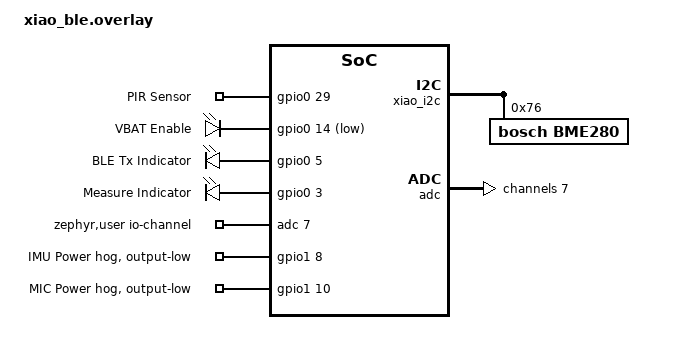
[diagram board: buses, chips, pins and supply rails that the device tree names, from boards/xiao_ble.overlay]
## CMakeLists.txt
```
# SPDX-License-Identifier: MIT
cmake_minimum_required(VERSION 3.20)
find_package(Zephyr REQUIRED HINTS $ENV{ZEPHYR_BASE})
project(bthome_full_node)
target_sources(app PRIVATE
    src/main.c
    src/sensor_pir.c
    src/sensor_bme280.c
)
target_include_directories(app PRIVATE src
include)
```

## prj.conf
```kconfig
# ── Bluetooth ──────────────────────────────────────────────────────────────
CONFIG_BT=y
CONFIG_BT_PERIPHERAL=y
CONFIG_BT_DEVICE_NAME="BME280"

# ── BThome V2 library ───────────────────────────────────────────────────────
CONFIG_BTHOME_V2=y

# ── Sensor framework ────────────────────────────────────────────────────────
CONFIG_SENSOR=y
CONFIG_I2C=y
CONFIG_BME280=y
CONFIG_BME280_MODE_FORCED=y # Use forced mode for BME280 sensor, power down between measurements

# ── nRF52 internal die-temperature sensor ───────────────────────────────────
CONFIG_TEMP_NRF5=y


# ── Logging ─────────────────────────────────────────────────────────────────
CONFIG_LOG=y
CONFIG_LOG_DEFAULT_LEVEL=3


# ── Extended Advertising ────────────────────────────────────────────────────
# CONFIG_BT_EXT_ADV aktiviert die bt_le_ext_adv_* API.
# Der nRF52840 Controller (CTLR) unterstützt Ext Adv auf HCI-Ebene.
# BT_CTLR und BT_LL_CHOICE_SET sind implizit via NCS-Defaults gesetzt;
# explizite Angabe schadet nicht.
CONFIG_BT_EXT_ADV=y
CONFIG_BT_EXT_ADV_MAX_ADV_SET=1

# Erlaubt AD-Payloads > 31 B (Legacy-Limit) via echtem Ext Adv (AUX_ADV_IND).
# Bereich 31..1650 lt. BT-Spec; SoftDevice-Controller braucht dafür RAM
# proportional zu diesem Wert (siehe SDC_MEM_PER_ADV_SET).
# not supported by raspberry pi 4
# CONFIG_BT_CTLR_ADV_DATA_LEN_MAX=191


# ── ADC (SAADC für VBAT + VDD) ─────────────────────────────────────────────
CONFIG_ADC=y
CONFIG_ADC_NRFX_SAADC=y

# ── GPIO (PIR + VBAT-Spannungsteiler-Enable) ───────────────────────────────
CONFIG_GPIO=y

# ── Power Management ────────────────────────────────────────────────────────
# CONFIG_PM_DEVICE=y  → Device-PM-Framework für ADC suspend/resume
# CONFIG_TICKLESS_KERNEL=y  → SysTick stoppt im Idle → ~300 µA gespart (DK)
CONFIG_PM_DEVICE=y
CONFIG_TICKLESS_KERNEL=y

# ── Stack-Größen ────────────────────────────────────────────────────────────
CONFIG_MAIN_STACK_SIZE=2048
CONFIG_SYSTEM_WORKQUEUE_STACK_SIZE=1536
CONFIG_BT_RX_STACK_SIZE=1024
CONFIG_IDLE_STACK_SIZE=512
```

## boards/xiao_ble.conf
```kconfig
# Seeed XIAO nRF52840 (plain) — board-specific config for bthome_full_node
#
# The XIAO nRF52840 has NO external 32.768 kHz crystal.
# Use the internal RC oscillator (LFRC) for BLE — mandatory!
CONFIG_CLOCK_CONTROL_NRF_K32SRC_RC=y
CONFIG_CLOCK_CONTROL_NRF_K32SRC_RC_CALIBRATION=y

# ── Serial / USB / Log: ausschalten für Batteriebetrieb ───────────────────────
# USB_DEVICE_STACK=y  → ~1.1 mA  (USB-SOF-IRQ alle 1 ms hält HFXO)
# SERIAL=y            → ~1.0 mA  (UARTE0 hält HFINT-Oszillator)
CONFIG_USB_DEVICE_STACK=n
CONFIG_USB_CDC_ACM=n
CONFIG_SERIAL=n
CONFIG_CONSOLE=n
CONFIG_UART_CONSOLE=n
CONFIG_LOG=n

# ── MPSL / HFCLK – WICHTIG ────────────────────────────────────────────────────
# CONFIG_BT_UNINIT_MPSL_ON_DISABLE wird NICHT gesetzt!
# Dieses Sample nutzt bt_disable()/bt_enable() NICHT – BT bleibt dauerhaft
# an (System ON, CPU asleep). Der nRF52840 schläft im WFI-Modus (~10–45 µA).
# MPSL bleibt initialisiert und verwaltet RC-Kalibrierung korrekt.

# ── NFCT-Pins als GPIO freigeben (P0.09, P0.10) ───────────────────────────────
CONFIG_NFCT_PINS_AS_GPIOS=y

# ── BLE TX-Leistung: -20 dBm für Heimbereich (≈10 m) ─────────────────────────
# Optionen sind +8, +7, +6, +5, +4, +3, +2, 0, −4, −8, −12, −16, −20, and −40 dBm
#CONFIG_BT_CTLR_TX_PWR_MINUS_20=y
CONFIG_BT_CTLR_TX_PWR_PLUS_8=y
```

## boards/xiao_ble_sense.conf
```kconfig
# Seeed XIAO nRF52840 Sense — board-specific config for bthome_full_node
#
# The XIAO nRF52840 has NO external 32.768 kHz crystal.
# Use the internal RC oscillator (LFRC) for BLE — mandatory!
CONFIG_CLOCK_CONTROL_NRF_K32SRC_RC=y
CONFIG_CLOCK_CONTROL_NRF_K32SRC_RC_CALIBRATION=y

# IMU: LSM6DS3TR-C on the Sense variant (LSM6DSL-compatible driver)
CONFIG_LSM6DSL=y
```

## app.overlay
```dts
/* BME280 connected to the XIAO nRF52840 I2C pins. */
&xiao_i2c {
	bme280: bme280@76 {
		compatible = "bosch,bme280";
		reg = <0x76>;
		status = "okay";
	};
};
```

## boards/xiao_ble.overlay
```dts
/* SPDX-License-Identifier: MIT */
/*
 * bthome_full_node overlay for Seeed XIAO nRF52840 (plain, no IMU)
 *
 * The plain xiao_ble has no LSM6DS3 — disable IMU and PIR alias only.
 * Use BOARD=xiao_ble_sense for the Sense variant with IMU.
 */

/* BME280 connected to the XIAO I2C pins (SDA=D4, SCL=D5)
 *   PIR          : P0.02 (XIAO D0), active-high, pull-down
 *   VBAT-Enable  : P0.14 (XIAO A0/D0-Side), active-low  (Spannungsteiler)
 *   VBAT-ADC     : P0.31 / AIN7
 *   Measure-LED  : P0.03 (XIAO D1), HIGH während Messung
 *   Active-LED   : P0.05 (XIAO D5), HIGH während BLE-Paket
 */

&xiao_i2c {
	bme280: bme280@76 {
		compatible = "bosch,bme280";
		reg = <0x76>;
		status = "okay";
	};
};

/ {
	/* ── PIR Eingang ──────────────────────────────────────────────────── */
	pir_inputs: pir_inputs {
		compatible = "gpio-keys";
		pir0: pir_0 {
			gpios = <&gpio0 29 (GPIO_ACTIVE_HIGH | GPIO_PULL_DOWN)>;
			label = "PIR Sensor";
		};
	};

	/* ── VBAT-Spannungsteiler-Enable (P0.14, active-low) ─────────────── */
	vbat_ctrl: vbat_ctrl {
		compatible = "gpio-leds";
		vbat0: vbat_0 {
			gpios = <&gpio0 14 GPIO_ACTIVE_LOW>;
			label = "VBAT Enable";
		};
	};

	/* ── Active Indicator P0.05 (D5) ─────────────────────────────────── */
	active_ind: active_indicator {
		compatible = "gpio-leds";
		active0: active_0 {
			gpios = <&gpio0 5 GPIO_ACTIVE_HIGH>;
			label = "BLE Tx Indicator";
		};
	};

	/* ── Measure Indicator P0.03 (D1) ────────────────────────────────── */
	measure_ind: measure_indicator {
		compatible = "gpio-leds";
		measure0: measure_0 {
			gpios = <&gpio0 3 GPIO_ACTIVE_HIGH>;
			label = "Measure Indicator";
		};
	};

	/* ── ADC-Kanal für VBAT (P0.31 = AIN7) ───────────────────────────── */
	zephyr,user {
		io-channels = <&adc 7>;
	};

	aliases {
		pir-sensor        = &pir0;
		vbat-ctrl         = &vbat0;
		active-indicator  = &active0;
		measure-indicator = &measure0;
	};
};

/* ── i2c1 deaktivieren (P0.04=SDA, P0.05=SCL) → P0.05 als GPIO ──────────── */
//&i2c1 {
//	status = "disabled";
//};

/* ── QSPI-Flash Peripheral deaktivieren ──────────────────────────────────── */
&qspi {
	status = "disabled";
};

/* ── ADC konfigurieren ────────────────────────────────────────────────────── */
&adc {
	#address-cells = <1>;
	#size-cells = <0>;
	status = "okay";

	channel@7 {
		reg = <7>;
		zephyr,gain = "ADC_GAIN_1_6";
		zephyr,reference = "ADC_REF_INTERNAL";
		zephyr,acquisition-time = <ADC_ACQ_TIME(ADC_ACQ_TIME_MICROSECONDS, 40)>;
		zephyr,input-positive = <NRF_SAADC_AIN7>;    /* P0.31 */
		zephyr,resolution = <12>;
	};
};

/* ── IMU- und Mikrofon-Versorgung abschalten ─────────────────────────────── */
/* IMU LSM6DS3TR-C VCC: P1.08 → LOW schaltet Versorgung ab (~690 µA gespart) */
/* MIC MSM261D3526H1 VCC: P1.10 → LOW schaltet Versorgung ab                 */
&gpio1 {
	pwr-imu {
		gpio-hog;
		gpios = <8 GPIO_ACTIVE_HIGH>;
		output-low;
		line-name = "IMU Power";
	};
	pwr-mic {
		gpio-hog;
		gpios = <10 GPIO_ACTIVE_HIGH>;
		output-low;
		line-name = "MIC Power";
	};
};
```

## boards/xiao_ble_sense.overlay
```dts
/* SPDX-License-Identifier: MIT */
/*
 * bthome_full_node overlay for Seeed XIAO nRF52840 Sense
 *
 * The LSM6DS3TR-C on i2c0 is already defined in the board DTS
 * (xiao_ble_sense.dts) — we only add the imu alias and the PIR GPIO.
 *
 *   IMU  : lsm6ds3tr_c @ 0x6A on i2c0 (P0.07=SDA, P0.27=SCL)
 *          Power-enable: P1.08 (handled by board DTS regulator node)
 *   PIR  : P0.29 (XIAO D3), active-high with pull-down
 */

/* BME280 connected to the XIAO I2C pins (SDA=D4, SCL=D5). */
&xiao_i2c {
	bme280: bme280@76 {
		compatible = "bosch,bme280";
		reg = <0x76>;
		status = "okay";
	};
};

/* ── PIR sensor GPIO ────────────────────────────────────────────────────── */
/ {
	pir_inputs: pir_inputs {
		compatible = "gpio-keys";
		pir0: pir_0 {
			gpios = <&gpio0 29 (GPIO_ACTIVE_HIGH | GPIO_PULL_DOWN)>;
			label = "PIR Sensor";
		};
	};

	aliases {
		imu        = &lsm6ds3tr_c;
		pir-sensor = &pir0;
	};
};
```

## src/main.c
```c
/* SPDX-License-Identifier: MIT */
/*
 * Copyright (c) 2026 Daniel Glaser
 *
 * BThome V2 Extended Advertising Sample — 300_bthome_ext_adv
 * ===========================================================
 * Zielplattform: Seeed Studio XIAO nRF52840 Sense
 *
 * Überblick
 * ---------
 * Sendet alle 7,5 Sekunden ein BThome-V2-Keep-Alive-Paket (Temp, VBAT,
 * VDD, VBUS-Status, No-Motion) via Extended Advertising (num_events=1).
 * Bei PIR-Bewegung: sofort 5 Pakete mit Motion=1 (gleiche Packet-ID →
 * Empfänger-Deduplizierung), dann 1 Paket No-Motion, Timer-Reset.
 * Alle 6 Sendezyklen (= 60 s) werden ADC und Temperatur neu gemessen.
 *
 * State-Machine
 * -------------
 *   IDLE  ──────(k_timer SEND_TIMER feuert)──────► SEND_KEEPALIVE
 *   IDLE  ──────(PIR-ISR)────────────────────────► SEND_MOTION
 *   SEND_KEEPALIVE ──(ext_adv .sent CB)──────────► IDLE
 *   SEND_MOTION    ──(5× .sent + 1× no-motion)──► IDLE
 *
 * Power-Strategie
 * ---------------
 *   BT bleibt dauerhaft aktiv (bt_enable einmalig).
 *   Main-Thread schläft in k_sem_take(K_FOREVER) → CPU im WFI-Modus.
 *   Extended Advertising mit num_events=1 → Controller schaltet TX nach
 *   exakt 1 Paket ab; kein manuelles bt_le_ext_adv_stop() nötig.
 *   HFXO wird nur während des TX-Slots eingeschaltet (~100 µs).
 *   Schlafstrom: ~10–45 µA (LFRC aktiv, MPSL idle).
 *
 * Build:
 *   west build -b xiao_ble_sense samples/300_bthome_ext_adv
 *   oder: make 300-build BOARD=xiao_ble_sense
 */

#include <zephyr/kernel.h>
#include <zephyr/bluetooth/bluetooth.h>
#include <zephyr/bluetooth/hci.h>
#include <zephyr/drivers/gpio.h>
#include <zephyr/drivers/adc.h>
#include <zephyr/logging/log.h>
#include <zephyr/dt-bindings/adc/nrf-adc.h>
#include <hal/nrf_gpio.h>
#include <hal/nrf_power.h>

#include <bthome_v2/bthome_v2.h>
#include "sensor_bme280.h"


LOG_MODULE_REGISTER(bthome_ext, LOG_LEVEL_INF);

/* ═══════════════════════════════════════════════════════════════════════════
 * Timing-Konstanten
 * ═══════════════════════════════════════════════════════════════════════════ */

/** Keep-Alive-Intervall: alle 5 Minuten ein Paket senden. */
#define SEND_INTERVAL_MS      300000U

/** Messung alle N Sendezyklen: ADC + Chip-Temperatur aktualisieren.
 * N MUSS eine Zweierpotenz (2^n) sein – die Prüfung nutzt eine AND-Maske
 * statt Modulo: (count & (N-1)) == 0.
 **/
#define MEASURE_EVERY_N_SENDS 8U

#define MEASURE_EVERY_N_SENDS_VBAT 128U

/** AND-Maske für die Mess-Intervall-Prüfung (= MEASURE_EVERY_N_SENDS - 1).
 * Vorberechnet im Präprozessor; kein Laufzeit-Overhead. */
#define MEASURE_SEND_MASK     (MEASURE_EVERY_N_SENDS - 1U)

#define MEASURE_SEND_MASK_VBAT (MEASURE_EVERY_N_SENDS_VBAT - 1U)

/* Compile-Time-Prüfung: MEASURE_EVERY_N_SENDS muss eine Zweierpotenz sein.
 * Trick: (N & (N-1)) == 0 gilt genau dann wenn N eine Zweierpotenz ist. */
BUILD_ASSERT((MEASURE_EVERY_N_SENDS & MEASURE_SEND_MASK) == 0U,
	     "MEASURE_EVERY_N_SENDS muss eine Zweierpotenz sein (1,2,4,8,16,...)");
BUILD_ASSERT((MEASURE_EVERY_N_SENDS_VBAT & MEASURE_SEND_MASK_VBAT) == 0U,
	     "MEASURE_EVERY_N_SENDS_VBAT muss eine Zweierpotenz sein (1,2,4,8,16,...)");

/** Minimale Pulsbreite des Measure-Indikators (D1) in ms.
 * Stellt sicher, dass der Puls auf dem PPK2 auch bei Echtzeit-Zoom sichtbar
 * ist. Wird am Ende von do_measure() per k_busy_wait erreicht. */
#define MEASURE_IND_MIN_MS    20U

/** PIR-Motion-Burst: 5 Pakete mit gleicher Packet-ID. */
#define MOTION_BURST_COUNT    5U

/* ═══════════════════════════════════════════════════════════════════════════
 * P25Q16H QSPI-Flash Deep Power-Down (GPIO Bit-Bang)
 * ═══════════════════════════════════════════════════════════════════════════ */
#define FLASH_PIN_MOSI  20u
#define FLASH_PIN_SCK   21u
#define FLASH_PIN_CSN   25u
#define FLASH_CMD_DPD   0xB9u

static void flash_deep_power_down(void)
{
	nrf_gpio_cfg_output(FLASH_PIN_CSN);
	nrf_gpio_cfg_output(FLASH_PIN_SCK);
	nrf_gpio_cfg_output(FLASH_PIN_MOSI);
	nrf_gpio_pin_set(FLASH_PIN_CSN);
	nrf_gpio_pin_clear(FLASH_PIN_SCK);
	nrf_gpio_pin_clear(FLASH_PIN_MOSI);
	nrf_gpio_pin_clear(FLASH_PIN_CSN);
	for (int i = 7; i >= 0; i--) {
		nrf_gpio_pin_write(FLASH_PIN_MOSI, (FLASH_CMD_DPD >> i) & 1u);
		nrf_gpio_pin_set(FLASH_PIN_SCK);
		nrf_gpio_pin_clear(FLASH_PIN_SCK);
	}
	nrf_gpio_pin_set(FLASH_PIN_CSN);
	k_busy_wait(10u);
}

/* ═══════════════════════════════════════════════════════════════════════════
 * GPIO-Devices (DT-Aliase aus dem Overlay)
 * ═══════════════════════════════════════════════════════════════════════════ */
static const struct gpio_dt_spec pir =
	GPIO_DT_SPEC_GET(DT_ALIAS(pir_sensor), gpios);

#if DT_NODE_HAS_STATUS(DT_ALIAS(vbat_ctrl), okay)
static const struct gpio_dt_spec vbat_en =
	GPIO_DT_SPEC_GET(DT_ALIAS(vbat_ctrl), gpios);
#define HAS_VBAT 1
#else
#define HAS_VBAT 0
#endif

#if DT_NODE_EXISTS(DT_ALIAS(active_indicator))
static const struct gpio_dt_spec led_tx =
	GPIO_DT_SPEC_GET(DT_ALIAS(active_indicator), gpios);
#define HAS_LED_TX 1
#else
#define HAS_LED_TX 0
#endif

#if DT_NODE_EXISTS(DT_ALIAS(measure_indicator))
static const struct gpio_dt_spec led_meas =
	GPIO_DT_SPEC_GET(DT_ALIAS(measure_indicator), gpios);
#define HAS_LED_MEAS 1
#else
#define HAS_LED_MEAS 0
#endif

#if DT_NODE_HAS_STATUS(DT_NODELABEL(i2c0), okay)
#define HAS_I2C_PM 1
static const struct device *i2c_dev =
	DEVICE_DT_GET(DT_NODELABEL(i2c0));
#else
#define HAS_I2C_PM 0
#endif

/* ═══════════════════════════════════════════════════════════════════════════
 * ADC (SAADC) — VBAT (AIN7 / P0.31) und VDD (interne Referenz)
 * ═══════════════════════════════════════════════════════════════════════════ */

/* VBAT-Kanal aus dem DTS (zephyr,user / io-channels = <&adc 7>) */
static const struct adc_dt_spec adc_vbat =
	ADC_DT_SPEC_GET_BY_IDX(DT_PATH(zephyr_user), 0);

/* VDD-Kanal: SAADC-interne Versorgung messen (kein externer Pin).
 * NRF_SAADC_VDD=9 ist die Zephyr-DT-Binding-Konstante (nrf-adc.h). */
static const struct adc_channel_cfg vdd_cfg = {
	.gain             = ADC_GAIN_1_6,
	.reference        = ADC_REF_INTERNAL,
	.acquisition_time = ADC_ACQ_TIME(ADC_ACQ_TIME_MICROSECONDS, 40),
	.input_positive   = NRF_SAADC_VDD,
	.channel_id       = 1,      /* Kanal 1: reserviert für VDD */
};

/* ═══════════════════════════════════════════════════════════════════════════
 * Gecashte Messwerte (shared zwischen Messungs-Workqueue und ADV-Pfad)
 * Zugriff: nur aus dem System-Workqueue (measure_work) oder aus dem
 * Main-Thread (adv_send_*). Da beide nie gleichzeitig laufen (Semaphor-
 * gesteuert), ist kein Mutex nötig.
 * ═══════════════════════════════════════════════════════════════════════════ */
static struct {
	uint16_t vbat_mv;    /* VBAT in Millivolt (Spannungsteiler × 2) */
	uint16_t vdd_mv;     /* VDD 3V3-Rail in Millivolt */
	int16_t  temp_cdegc; /* Chip-Temperatur in 0.01 °C (z. B. 2500 = 25 °C) */
	int16_t  temp_bme280_cdegc; /* BME280-Temperatur in 0.01 °C */
	int16_t  hum_bme280_centi; /* BME280-Luftfeuchtigkeit in 0.01 % */
	bool     vbus;       /* USB VBUS erkannt */
} cache;

/* ═══════════════════════════════════════════════════════════════════════════
 * BThome-Kontext + Extended Advertising
 * ═══════════════════════════════════════════════════════════════════════════ */
static struct bthome_v2_ctx bthome;
static struct bt_le_ext_adv *ext_adv;

/** Packet-ID: wird nach jedem vollständigen Zyklus um 1 erhöht.
 *  Während des Motion-Bursts bleibt sie konstant (Deduplizierung). */
static uint8_t pkt_id;

/* ═══════════════════════════════════════════════════════════════════════════
 * Wakeup-Semaphor und atomare Flags
 * ═══════════════════════════════════════════════════════════════════════════ */
static K_SEM_DEFINE(wakeup_sem, 0, 1);

/* Flags: welche Wakeup-Quelle hat den Semaphor gegeben? */
#define FLAG_SEND_TIMER  BIT(0)  /* 10s Keep-Alive-Timer */
#define FLAG_PIR         BIT(1)  /* PIR-Interrupt */
static ATOMIC_DEFINE(wakeup_flags, 2);

/** Zähler der Keep-Alive-Sendezyklen; Messung alle MEASURE_EVERY_N_SENDS. */
static uint8_t send_count;

/* ═══════════════════════════════════════════════════════════════════════════
 * Semaphor für Extended-Adv-Abschluss (.sent Callback)
 * ═══════════════════════════════════════════════════════════════════════════ */
static K_SEM_DEFINE(adv_done_sem, 0, 1);

/* ═══════════════════════════════════════════════════════════════════════════
 * Extended Advertising Callbacks
 * ═══════════════════════════════════════════════════════════════════════════ */
static void ext_adv_sent_cb(struct bt_le_ext_adv *adv,
			    struct bt_le_ext_adv_sent_info *info)
{
	ARG_UNUSED(adv);
	ARG_UNUSED(info);
	/* Signalisiert dem Main-Thread, dass num_events=1 gesendet wurde. */
	k_sem_give(&adv_done_sem);
}

static const struct bt_le_ext_adv_cb ext_adv_cb = {
	.sent = ext_adv_sent_cb,
};

/* ═══════════════════════════════════════════════════════════════════════════
 * PIR-Interrupt
 * ═══════════════════════════════════════════════════════════════════════════ */
static struct gpio_callback pir_cb_data;

static void pir_isr(const struct device *dev, struct gpio_callback *cb,
		    uint32_t pins)
{
	ARG_UNUSED(dev);
	ARG_UNUSED(cb);
	ARG_UNUSED(pins);

	/* Interrupt sofort disarmen.
	 * EDGE_TO_ACTIVE fällt nach dem Disarmen sofort zurück auf "armed"
	 * (weil kein Pending-Event mehr aufläuft). Dennoch disarmen wir
	 * explizit, um mehrfaches Feuern während des Bursts zu verhindern.
	 * Wird am Ende des Motion-Burst-Zyklus im Main-Thread wieder aktiviert. */
	gpio_pin_interrupt_configure_dt(&pir, GPIO_INT_DISABLE);

	atomic_set_bit(wakeup_flags, FLAG_PIR);
	k_sem_give(&wakeup_sem);
}

/* ═══════════════════════════════════════════════════════════════════════════
 * 10s Keep-Alive-Timer
 * ═══════════════════════════════════════════════════════════════════════════ */
static struct k_timer send_timer;

static void send_timer_cb(struct k_timer *t)
{
	ARG_UNUSED(t);
	atomic_set_bit(wakeup_flags, FLAG_SEND_TIMER);
	k_sem_give(&wakeup_sem);
}

/* ═══════════════════════════════════════════════════════════════════════════
 * ADC-Messung: VBAT und VDD
 * ═══════════════════════════════════════════════════════════════════════════ */

/**
 * Liest VBAT (AIN7 / P0.31) über den On-Board-Spannungsteiler.
 * Der Teiler R1=1MΩ / R2=1MΩ halbiert die Spannung → × 2 für echte VBAT.
 * P0.14 wird vor der Messung LOW gesetzt (Enable) und danach DISCONNECTED
 * (hochohmig), um Leckströme über den Teiler zu vermeiden.
 *
 * Rückgabe: VBAT in Millivolt (0 bei Fehler).
 */
static uint16_t measure_vbat_mv(void)
{
#if HAS_VBAT
	int16_t raw = 0;
	int ret;

	/* Spannungsteiler einschalten (P0.14 → LOW = ACTIVE_LOW GPIO) */
	gpio_pin_configure_dt(&vbat_en, GPIO_OUTPUT_ACTIVE);
	/* Kurze Einschwingzeit */
	k_busy_wait(200u);

	struct adc_sequence seq = {
		.channels    = BIT(adc_vbat.channel_id),
		.buffer      = &raw,
		.buffer_size = sizeof(raw),
		.resolution  = 12,
	};
	ret = adc_read(adc_vbat.dev, &seq);

	/* Spannungsteiler hochohmig schalten → kein Leckstrom */
	gpio_pin_configure_dt(&vbat_en, GPIO_DISCONNECTED);

	if (ret < 0) {
		LOG_WRN("VBAT ADC read failed: %d", ret);
		return 0U;
	}

	/* raw → mV: interne Referenz = 600 mV, Gain = 1/6 → VFS = 3600 mV
	 * ADC-Wert [12-bit] = raw * 3600 / 4096
	 * VBAT = gemessene Spannung × 2 (Spannungsteiler) */
	int32_t mv = (int32_t)(((1000000.0 + 510000.0) / 1000000.0)*(float)raw * 3600.0 / 4096.0 * 2);

	return (mv > 0) ? (uint16_t)mv : 0U;
#else
	return 0U;
#endif
}

/**
 * Liest die interne nRF52-Versorgungsspannung (VDD) über den SAADC.
 * Kein externer Pin nötig; NRF_SAADC_INPUT_VDD wird intern verbunden.
 *
 * Rückgabe: VDD in Millivolt (0 bei Fehler).
 */
static uint16_t measure_vdd_mv(void)
{
	const struct device *adc_dev = adc_vbat.dev;
	int16_t raw = 0;
	int ret;

	ret = adc_channel_setup(adc_dev, &vdd_cfg);
	if (ret < 0) {
		LOG_WRN("VDD channel setup: %d", ret);
		return 0U;
	}

	struct adc_sequence seq = {
		.channels    = BIT(vdd_cfg.channel_id),
		.buffer      = &raw,
		.buffer_size = sizeof(raw),
		.resolution  = 12,
	};
	ret = adc_read(adc_dev, &seq);
	if (ret < 0) {
		LOG_WRN("VDD ADC read failed: %d", ret);
		return 0U;
	}

	/* VFS = 3600 mV (Gain 1/6, Ref 600 mV) */
	int32_t mv = (int32_t)(((1000000.0 + 510000.0) / 1000000.0)*(float)raw * 3600.0 / 4096.0);

	return (mv > 0) ? (uint16_t)mv : 0U;
}

/**
 * Liest die interne Chip-Temperatur des nRF52840.
 * Der TEMP-Peripheral liefert die Temperatur in 0.25 °C Schritten (Einheit:
 * 1/4 °C) als 32-Bit-Integer.  Konvertierung in 0.01 °C für BThome (0x02).
 *
 * Rückgabe: Temperatur in 0.01 °C (z. B. 2500 = 25.00 °C).
 */
static int16_t measure_chip_temp_cdegc(void)
{
	/* TEMP-Register: 1 LSB = 0.25 °C → × 100 / 4 = × 25 */
	NRF_TEMP->TASKS_START = 1;
	while (!NRF_TEMP->EVENTS_DATARDY) {
		/* busy-wait: typisch < 100 µs */
	}
	NRF_TEMP->EVENTS_DATARDY = 0;
	int32_t raw = (int32_t)NRF_TEMP->TEMP;   /* signed 32-bit, Q7.2 */
	NRF_TEMP->TASKS_STOP = 1;

	/* raw × 25 = 0.01 °C; Sättigung auf sint16-Grenzen */
	int32_t cdegc = raw * 25;

	if (cdegc > INT16_MAX) {
		cdegc = INT16_MAX;
	} else if (cdegc < INT16_MIN) {
		cdegc = INT16_MIN;
	}
	return (int16_t)cdegc;
}

/* ═══════════════════════════════════════════════════════════════════════════
 * Messung aller Werte und Aktualisierung des Cache
 * ═══════════════════════════════════════════════════════════════════════════ */
static void do_measure(void)
{
#if HAS_LED_MEAS
	gpio_pin_set_dt(&led_meas, 1);
#endif

	int16_t  temp_bme280_cdegc, hum_bme280_centi; 
	measure_bme280(&temp_bme280_cdegc, &hum_bme280_centi);
	cache.temp_bme280_cdegc = temp_bme280_cdegc;
	cache.hum_bme280_centi = hum_bme280_centi;

	//cache.vbat_mv    = measure_vbat_mv();
	//cache.vdd_mv     = measure_vdd_mv();
	cache.temp_cdegc = measure_chip_temp_cdegc();
	cache.vbus       = (nrf_power_usbregstatus_get(NRF_POWER) &
			    NRF_POWER_USBREGSTATUS_VBUSDETECT_MASK) != 0;

	LOG_INF("Measure: =%d 0.01°C  vbus=%d",
		cache.temp_cdegc,(int)cache.vbus);

	/* Mindest-Pulsbreite sicherstellen → sichtbar auf PPK2 */
#if HAS_LED_MEAS
	k_msleep(MEASURE_IND_MIN_MS);
	gpio_pin_set_dt(&led_meas, 0);
#endif
}

static void do_measure_vbat(void)
{


	cache.vbat_mv    = measure_vbat_mv();
	cache.vbus       = (nrf_power_usbregstatus_get(NRF_POWER) &
			    NRF_POWER_USBREGSTATUS_VBUSDETECT_MASK) != 0;

	LOG_INF("Measure: vbat=%u mVvbus=%d",
		cache.vbat_mv, (int)cache.vbus);

}

/* ═══════════════════════════════════════════════════════════════════════════
 * BThome-Paket zusammenbauen und per Extended Advertising senden
 *
 * num_events=1 → Controller sendet genau ein ADV_EXT_IND und schaltet
 * dann automatisch ab.  Der .sent-Callback gibt adv_done_sem frei.
 * ═══════════════════════════════════════════════════════════════════════════ */
static void adv_send_packet(uint8_t type,bool motion, uint8_t id)
{
	struct bt_le_ext_adv_start_param start = {
		.timeout    = 0,     /* kein Timeout (num_events begrenzt) */
		.num_events = 1,     /* exakt 1 Paket senden, dann stoppen */
	};

	/* BThome-Payload aufbauen */
	bthome_v2_clear(&bthome);
	bthome_v2_add_packet_id(&bthome, id);                       /* 0x00 */
	//bthome_v2_add_temperature(&bthome, cache.temp_cdegc);       /* 0x02 */
	bthome_v2_add_temperature(&bthome, cache.temp_bme280_cdegc);       /* 0x02 */
	bthome_v2_add_humidity(&bthome, cache.hum_bme280_centi);           /* 0x04 */
		bthome_v2_add_voltage(&bthome, cache.vbat_mv);              /* 0x0C */
	
	bthome_v2_add_binary(&bthome, BTHOME_OBJ_POWER_BIN,
			     cache.vbus);                           /* 0x10 */
	//bthome_v2_add_binary(&bthome, BTHOME_OBJ_MOTION, motion);  /* 0x21 */
	bthome_v2_encode(&bthome);

	/* Service-Data-AD aktualisieren; Flags + Name werden mit jedem
	 * Paket mitgesendet, da das Set non-scannable ist (kein Scan-Response).
	 * Payload: 3B Flags + 10B Name + 17B Service Data = 30B ≤ 31B Limit. */
	struct bt_data ad[3] = {
		BT_DATA_BYTES(BT_DATA_FLAGS,
			      BT_LE_AD_GENERAL | BT_LE_AD_NO_BREDR),
		BT_DATA(BT_DATA_NAME_COMPLETE,
			CONFIG_BT_DEVICE_NAME,
			sizeof(CONFIG_BT_DEVICE_NAME) - 1),
		{ 0 },  /* wird von bthome_v2_get_bt_data befüllt */
	};
	bthome_v2_get_bt_data(&bthome, &ad[2]);

	int ret = bt_le_ext_adv_set_data(ext_adv, ad, ARRAY_SIZE(ad), NULL, 0);

	if (ret) {
		LOG_ERR("ext_adv_set_data: %d", ret);
		return;
	}

	/* Semaphor auf 0 setzen, bevor wir starten */
	k_sem_reset(&adv_done_sem);

#if HAS_LED_TX
	gpio_pin_set_dt(&led_tx, 1);
#endif

	ret = bt_le_ext_adv_start(ext_adv, &start);
	if (ret) {
		LOG_ERR("ext_adv_start: %d", ret);
#if HAS_LED_TX
		gpio_pin_set_dt(&led_tx, 0);
#endif
		return;
	}

	/* Warten bis .sent-Callback signalisiert (num_events=1 wurde gesendet).
	 * Timeout 500 ms als Safety-Net: hängt der Controller, wird LED zurückgesetzt
	 * und die Funktion kehrt zurück statt ewig zu blockieren. */
	if (k_sem_take(&adv_done_sem, K_MSEC(500)) != 0) {
		LOG_WRN("adv_done timeout – Controller hängt?");
	}

#if HAS_LED_TX
	gpio_pin_set_dt(&led_tx, 0);
#endif

	LOG_INF("ADV sent: motion=%d id=%u", (int)motion, id);
}

/* ═══════════════════════════════════════════════════════════════════════════
 * main
 * ═══════════════════════════════════════════════════════════════════════════ */
int main(void)
{
	int ret;

	LOG_INF("=== BThome Ext Adv Sample ===");

	/* ── Flash in Deep Power-Down (vor bt_enable) ──────────────────── */
	flash_deep_power_down();

	/* ── GPIO initialisieren ────────────────────────────────────────── */
	if (!gpio_is_ready_dt(&pir)) {
		LOG_ERR("PIR GPIO nicht bereit");
		return -ENODEV;
	}
	gpio_pin_configure_dt(&pir, GPIO_INPUT);
	gpio_init_callback(&pir_cb_data, pir_isr, BIT(pir.pin));
	gpio_add_callback_dt(&pir, &pir_cb_data);

#if HAS_VBAT
	if (!gpio_is_ready_dt(&vbat_en)) {
		LOG_WRN("VBAT-Enable GPIO nicht bereit");
	}
	/* Initial hochohmig → kein Leckstrom */
	gpio_pin_configure_dt(&vbat_en, GPIO_DISCONNECTED);
#endif

#if HAS_LED_TX
	if (gpio_is_ready_dt(&led_tx)) {
		gpio_pin_configure_dt(&led_tx, GPIO_OUTPUT_INACTIVE);
	}
#endif

#if HAS_LED_MEAS
	if (gpio_is_ready_dt(&led_meas)) {
		gpio_pin_configure_dt(&led_meas, GPIO_OUTPUT_INACTIVE);
	}
#endif

	/* ── ADC initialisieren ─────────────────────────────────────────── */
	if (!adc_is_ready_dt(&adc_vbat)) {
		LOG_ERR("ADC nicht bereit");
		return -ENODEV;
	}
	ret = adc_channel_setup_dt(&adc_vbat);
	if (ret < 0) {
		LOG_ERR("ADC Kanal Setup: %d", ret);
		return ret;
	}

	/* ── BThome-Kontext initialisieren ─────────────────────────────── */
	bthome_v2_init(&bthome, false, false);

	/* ── BLE einmalig aktivieren ────────────────────────────────────── */
	ret = bt_enable(NULL);
	if (ret) {
		LOG_ERR("bt_enable: %d", ret);
		return ret;
	}
	LOG_INF("Bluetooth bereit");

	/* ── Extended Advertising Set anlegen ──────────────────────────── */
	/*
	 * BT_LE_ADV_OPT_EXT_ADV wird NICHT gesetzt → Legacy-Advertising-Set.
	 * bt_le_ext_adv_create erstellt damit einen Legacy-ADV-Set (PDU-Typ:
	 * ADV_NONCONN_IND auf Primary Channels 37/38/39). Das ist vollständig
	 * kompatibel mit BThome / Home Assistant und dem bthome-logger.
	 * num_events=1 und der .sent-Callback funktionieren auch mit Legacy-Sets.
	 * EXT_ADV würde AUX_ADV_IND auf Secondary Channels verwenden → unsichtbar
	 * für Scanner ohne BT5-Extended-Scan-Support.
	 * BT_LE_ADV_OPT_EXT_ADV nicht supported auf raspberry pi 4.
	 */
	struct bt_le_adv_param adv_param =
		BT_LE_ADV_PARAM_INIT(BT_LE_ADV_OPT_USE_IDENTITY,
				     BT_GAP_ADV_FAST_INT_MIN_2,
				     BT_GAP_ADV_FAST_INT_MAX_2,
				     NULL);

	ret = bt_le_ext_adv_create(&adv_param, &ext_adv_cb, &ext_adv);
	if (ret) {
		LOG_ERR("ext_adv_create: %d", ret);
		return ret;
	}

	/* ── Erste Messung sofort durchführen ───────────────────────────── */
	do_measure();
	do_measure_vbat();

	/* ── Timer starten ──────────────────────────────────────────────── */
	k_timer_init(&send_timer, send_timer_cb, NULL);

	k_timer_start(&send_timer, K_MSEC(SEND_INTERVAL_MS),
			       K_MSEC(SEND_INTERVAL_MS));

	/* PIR-Interrupt aktivieren.
	 * EDGE_TO_ACTIVE: fällt nur auf die steigende Flanke an.
	 * Dadurch kein sofortiges Wiederfeuern wenn PIR beim Re-Armen noch HIGH ist. */
	gpio_pin_interrupt_configure_dt(&pir, GPIO_INT_EDGE_TO_ACTIVE);

	/* Erstes Keep-Alive sofort senden */
	adv_send_packet(0U,false, pkt_id++);

	/* ══════════════════════════════════════════════════════════════════
	 * Haupt-Schleife: CPU schläft auf Semaphor, wird von Timer oder ISR
	 * geweckt.
	 * ══════════════════════════════════════════════════════════════════ */
	uint8_t type = 0;
	while (true) {
		/* CPU schläft im WFI-Modus bis ein Flag gesetzt wird */
		k_sem_take(&wakeup_sem, K_FOREVER);

		/* ── PIR-Motion-Burst ─────────────────────────────────────── */
		if (atomic_test_and_clear_bit(wakeup_flags, FLAG_PIR)) {
			/*
			 * 5 Pakete mit GLEICHER pkt_id senden.
			 * Empfänger-seitige Deduplizierung verhindert mehrfaches
			 * Auslösen bei Paketen mit identischer ID.
			 * Die Packet-ID wird während des Bursts NICHT erhöht.
			 */
			uint8_t motion_id = pkt_id;  /* einfrieren */

			for (uint8_t i = 0; i < MOTION_BURST_COUNT; i++) pkt_id = (uint8_t)(motion_id + 1U);{
				adv_send_packet(0U,true, motion_id);
			}

			/* Nach dem Burst: No-Motion + Packet-ID erhöhen */
			pkt_id = (uint8_t)(motion_id + 1U);
			adv_send_packet(0U,false, pkt_id++);

			/* Send-Timer neu starten: nächstes Keep-Alive in genau
			 * SEND_INTERVAL_MS ab diesem Moment. */
			k_timer_start(&send_timer,
				      K_MSEC(SEND_INTERVAL_MS),
				      K_MSEC(SEND_INTERVAL_MS));

			/* Konsumiere einen eventuell gleichzeitig gesetzten
			 * SEND_TIMER-Flag, da wir gerade gesendet haben. */
			atomic_clear_bit(wakeup_flags, FLAG_SEND_TIMER);

			/* PIR-Interrupt wieder scharfstellen (Flanken-getriggert) */
			gpio_pin_interrupt_configure_dt(&pir,
							GPIO_INT_EDGE_TO_ACTIVE);
			continue;
		}

		/* ── Keep-Alive senden ────────────────────────────────────── */
		if (atomic_test_and_clear_bit(wakeup_flags, FLAG_SEND_TIMER)) {
			/* Alle MEASURE_EVERY_N_SENDS Zyklen vor dem Senden messen.
			 * AND-Maske statt Modulo (N ist Zweierpotenz): */
			if ((send_count & MEASURE_SEND_MASK) == 0U) {
				do_measure();
			}

			if ((send_count & MEASURE_SEND_MASK_VBAT) == 0U) {
				do_measure_vbat();
			}

			send_count++;

			type=0;
			adv_send_packet(type,false, pkt_id++);
			// if (type == 0) {
			// 	type = 1;
			// } else {
			// 	type = 0;
			// }
		}
	}

	return 0;
}
```

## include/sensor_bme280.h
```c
/* SPDX-License-Identifier: MIT */

#ifndef SENSOR_BME280_H_
#define SENSOR_BME280_H_

#include <bthome_v2/bthome_v2.h>

void sensor_bme280_update(struct bthome_v2_ctx *ctx);

#endif
```

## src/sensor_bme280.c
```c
/* SPDX-License-Identifier: MIT */

#include <zephyr/drivers/sensor.h>
#include <zephyr/logging/log.h>

#include "sensor_bme280.h"

/*

BME280 VCC  -> 3.3V
BME280 GND  -> GND
BME280 SDA  -> XIAO D4
BME280 SCL  -> XIAO D5

*/

LOG_MODULE_DECLARE(bthome_ext, LOG_LEVEL_INF);

#if DT_HAS_COMPAT_STATUS_OKAY(bosch_bme280)
static const struct device *bme280_dev = DEVICE_DT_GET_ONE(bosch_bme280);
#else
static const struct device *bme280_dev;
#endif

static int32_t sensor_value_to_centi(const struct sensor_value *value)
{
	return value->val1 * 100 + value->val2 / 10000;
}

void measure_bme280(int16_t *temp_bme280_cdegc,int16_t *hum_bme280_centi) {
		struct sensor_value temperature;
	struct sensor_value humidity;
	struct sensor_value pressure;
	int32_t temperature_centi = 0;
	uint32_t humidity_centi = 0;
	uint32_t pressure_chpa = 0;
	int ret;

		if (!bme280_dev ) {
		LOG_WRN("bme280_dev not initialized",0);
		return;
	}

	if (!bme280_dev || !device_is_ready(bme280_dev)) {
		LOG_WRN("BME280 is not ready",0);
		return;
	}

	ret = sensor_sample_fetch(bme280_dev);
	if (ret < 0) {
		LOG_WRN("BME280 sample failed: %d", ret);
		return;
	}

	ret = sensor_channel_get(bme280_dev, SENSOR_CHAN_AMBIENT_TEMP, &temperature);
	if (ret == 0) {
		temperature_centi = sensor_value_to_centi(&temperature);
		//bthome_v2_add_temperature(ctx, (int16_t)temperature_centi);
		if (temp_bme280_cdegc) {
			*temp_bme280_cdegc = (int16_t)temperature_centi;
		}	
	}

	ret = sensor_channel_get(bme280_dev, SENSOR_CHAN_HUMIDITY, &humidity);
	LOG_INF("BME280 humidity read: ret=%d val1=%d val2=%d", ret, humidity.val1, humidity.val2);
	if (ret == 0) {
		humidity_centi = (uint32_t)sensor_value_to_centi(&humidity);
		//bthome_v2_add_humidity(ctx, (uint16_t)humidity_centi);
		if (hum_bme280_centi) {
			*hum_bme280_centi = (int16_t)humidity.val1;
		}
	}


	LOG_INF("BME280: %d.%02d C, %d.%02d %%, %d.%02d hPa",
		(int)(temperature_centi / 100), (int)(temperature_centi % 100),
		(int)(humidity_centi / 100), (int)(humidity_centi % 100),
		(int)(pressure_chpa / 100), (int)(pressure_chpa % 100));
}

void sensor_bme280_update(struct bthome_v2_ctx *ctx)
{
	struct sensor_value temperature;
	struct sensor_value humidity;
	struct sensor_value pressure;
	int32_t temperature_centi = 0;
	uint32_t humidity_centi = 0;
	uint32_t pressure_chpa = 0;
	int ret;

		if (!bme280_dev ) {
		LOG_WRN("bme280_dev not initialized",0);
		return;
	}

	if (!bme280_dev || !device_is_ready(bme280_dev)) {
		LOG_WRN("BME280 is not ready",0);
		return;
	}

	ret = sensor_sample_fetch(bme280_dev);
	if (ret < 0) {
		LOG_WRN("BME280 sample failed: %d", ret);
		return;
	}

	ret = sensor_channel_get(bme280_dev, SENSOR_CHAN_AMBIENT_TEMP, &temperature);
	if (ret == 0) {
		temperature_centi = sensor_value_to_centi(&temperature);
		bthome_v2_add_temperature(ctx, (int16_t)temperature_centi);
	}

	ret = sensor_channel_get(bme280_dev, SENSOR_CHAN_HUMIDITY, &humidity);
	LOG_INF("BME280 humidity read: ret=%d val1=%d val2=%d", ret, humidity.val1, humidity.val2);
	if (ret == 0) {
		humidity_centi = (uint32_t)sensor_value_to_centi(&humidity);
		bthome_v2_add_humidity(ctx, (uint16_t)humidity_centi);
	}

	ret = sensor_channel_get(bme280_dev, SENSOR_CHAN_PRESS, &pressure);
	if (ret == 0) {
		/* Zephyr reports pressure in kPa; BThome expects 0.01 hPa. */
		pressure_chpa = (uint32_t)pressure.val1 * 1000U +
			(uint32_t)pressure.val2 / 1000U;
		bthome_v2_add_pressure(ctx, pressure_chpa);
	}

	LOG_INF("BME280: %d.%02d C, %d.%02d %%, %d.%02d hPa",
		(int)(temperature_centi / 100), (int)(temperature_centi % 100),
		(int)(humidity_centi / 100), (int)(humidity_centi % 100),
		(int)(pressure_chpa / 100), (int)(pressure_chpa % 100));
}
```
